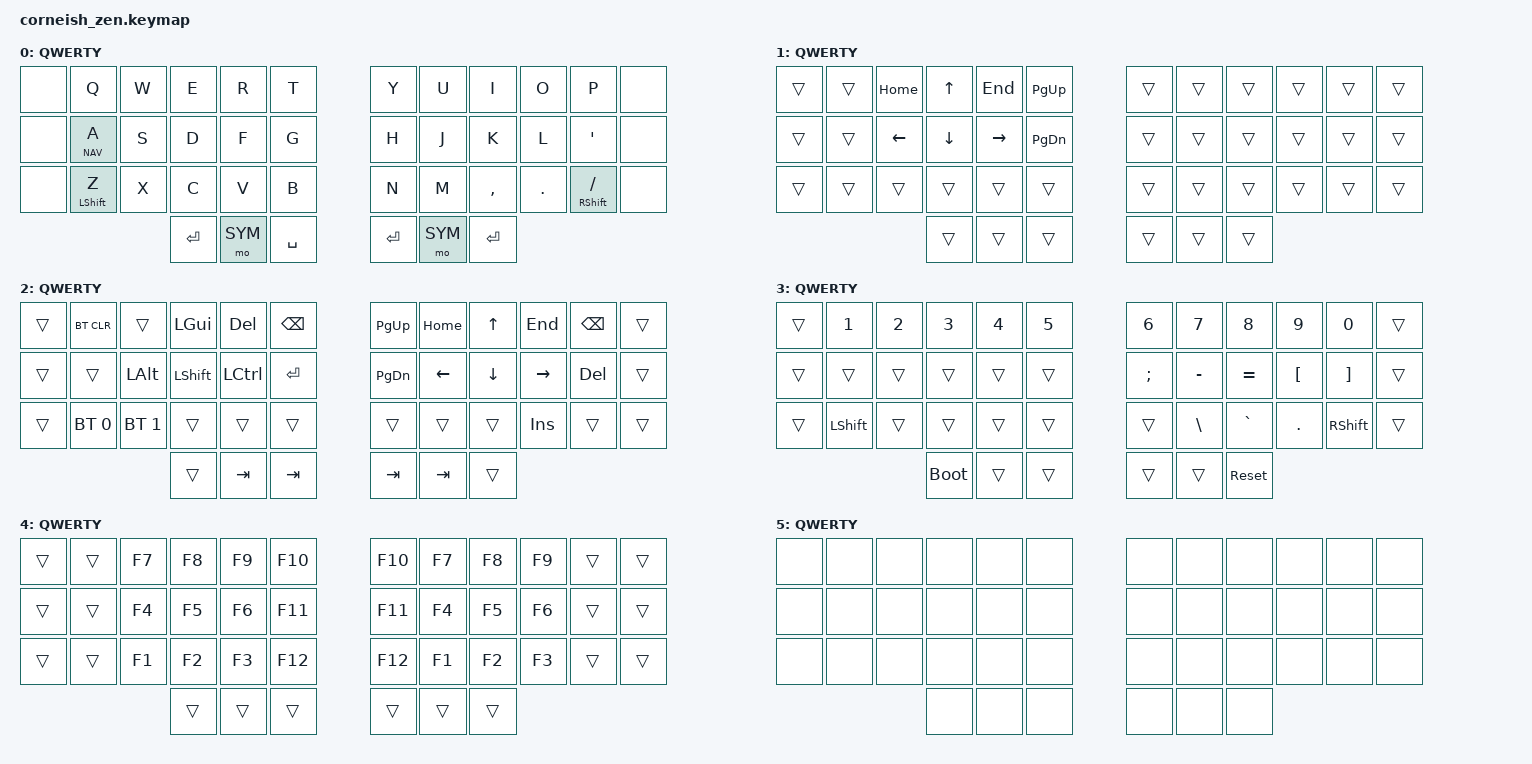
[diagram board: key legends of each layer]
/*
*
* Copyright (c) 2021 Darryl deHaan
* SPDX-License-Identifier: MIT
*
*/

#include <behaviors.dtsi>
#include <dt-bindings/zmk/keys.h>
#include <dt-bindings/zmk/bt.h>

#define COMBO_TIMEOUT <30>

#define BASE    0
#define LNAV    1
#define NAV     2
#define SYM     3
#define FUNC    4
#define DISABLE 5

#define _______ &trans
#define XXXXXXX &none

&mt {
    tapping-term-ms = <150>;
    flavor = "hold-preferred";
};

&sk {
    release-after-ms = <1000>;
};

&sl {
    release-after-ms = <1000>;
};

/ {
    chosen {
        zmk,matrix_transform = &default_transform;
        // zmk,matrix_transform = &five_column_transform;
    };
};

/ {

    behaviors {
        // Sticky key on tap, keypress on hold
        st: sticky_tap {
            compatible = "zmk,behavior-hold-tap";
            label = "STICKY_TAP";
            #binding-cells = <2>;
            tapping-term-ms = <250>;
            flavor = "tap-preferred";
            bindings = <&kp>, <&sk>;
        };

        combos {
            compatible = "zmk,combos";

            combo_disable { timeout-ms = COMBO_TIMEOUT; key-positions = <1 10>; bindings = <&tog DISABLE>; };

            // Escape, Tab, Enter, Backspace, Del
            combo_esc   { timeout-ms = COMBO_TIMEOUT; key-positions = <2 3>;   bindings = <&kp ESC>; };
            combo_tab   { timeout-ms = COMBO_TIMEOUT; key-positions = <14 15>; bindings = <&kp TAB>; };
            combo_bspc  { timeout-ms = COMBO_TIMEOUT; key-positions = <8 9>;   bindings = <&kp BKSP>; };
            combo_del   { timeout-ms = COMBO_TIMEOUT; key-positions = <9 10>;  bindings = <&kp DEL>; };
            combo_enter { timeout-ms = COMBO_TIMEOUT; key-positions = <20 21>; bindings = <&kp ENTER>; };

            // Sticky tap CTRL, ALT, GUI
            combo_lgui  { timeout-ms = COMBO_TIMEOUT; layers = <BASE>; key-positions = <2 4>;           bindings = <&st LGUI LGUI>; };
            combo_lctrl { timeout-ms = COMBO_TIMEOUT; layers = <BASE>; key-positions = <14 16>;         bindings = <&st LCTRL LCTRL>; };
            combo_lalt  { timeout-ms = COMBO_TIMEOUT; layers = <BASE>; key-positions = <26 28>;         bindings = <&st LALT LALT>; };

            combo_ralt  { timeout-ms = COMBO_TIMEOUT; layers = <BASE>; key-positions = <7 9>;           bindings = <&st RALT RALT>; };
            combo_rctrl { timeout-ms = COMBO_TIMEOUT; layers = <BASE>; key-positions = <19 21>;         bindings = <&st RCTRL RCTRL>; };
            combo_rgui  { timeout-ms = COMBO_TIMEOUT; layers = <BASE>; key-positions = <31 33>;         bindings = <&st RGUI RGUI>; };

            // Cut, Copy, Paste
            combo_cut   { timeout-ms = COMBO_TIMEOUT; layers = <BASE>; key-positions = <26 27 28>;      bindings = <&kp LC(X)>; };
            combo_copy  { timeout-ms = COMBO_TIMEOUT; layers = <BASE>; key-positions = <26 27>;         bindings = <&kp LC(C)>; };
            combo_paste { timeout-ms = COMBO_TIMEOUT; layers = <BASE>; key-positions = <27 28>;         bindings = <&kp LC(V)>; };

            // Left hand nav toggle, function layer
            combo_lnav  { timeout-ms = COMBO_TIMEOUT; layers = <BASE LNAV>; key-positions = <14 3 16>;  bindings = <&tog LNAV>; };
            combo_func  { timeout-ms = COMBO_TIMEOUT; layers = <BASE>; key-positions = <15 16>;         bindings = <&sl FUNC>; };
        };
    };

    keymap {
        compatible = "zmk,keymap";

        default_layer {
            label = "QWERTY";
            bindings = <
            XXXXXXX         &kp Q           &kp W           &kp E           &kp R           &kp T           &kp Y           &kp U           &kp I           &kp O           &kp P           XXXXXXX
            XXXXXXX         &lt NAV A       &kp S           &kp D           &kp F           &kp G           &kp H           &kp J           &kp K           &kp L           &kp APOS        XXXXXXX
            XXXXXXX         &mt LSHFT Z     &kp X           &kp C           &kp V           &kp B           &kp N           &kp M           &kp COMMA       &kp DOT         &mt RSHFT FSLH  XXXXXXX
                                                            &kp ENTER       &mo SYM         &kp SPC         &kp ENTER       &mo SYM         &kp ENTER
            >;
        };

        lnav_layer {
            label = "QWERTY";
            bindings = <
                _______         _______         &kp HOME        &kp UP          &kp END         &kp PG_UP       _______         _______         _______         _______         _______         _______
                _______         _______         &kp LEFT        &kp DOWN        &kp RIGHT       &kp PG_DN       _______         _______         _______         _______         _______         _______
                _______         _______         _______         _______         _______         _______         _______         _______         _______         _______         _______         _______
                _______         _______         _______         _______         _______         _______
            >;
        };

        nav_layer {
            label = "QWERTY";
            bindings = <
                _______         &bt BT_CLR      _______         &kp LGUI        &kp DEL         &kp BSPC        &kp PG_UP       &kp HOME        &kp UP          &kp END         &kp BKSP        _______
                _______         _______         &kp LALT        &kp LSHFT       &kp LCTRL       &kp ENTER       &kp PG_DN       &kp LEFT        &kp DOWN        &kp RIGHT       &kp DEL         _______
                _______         &bt BT_SEL 0    &bt BT_SEL 1    _______         _______         _______         _______         _______         _______         &kp INS         _______         _______
                _______         &kp TAB         &kp TAB         &kp TAB         &kp TAB         _______
            >;
        };

        sym_layer {
            label = "QWERTY";
            bindings = <
                _______         &kp N1          &kp N2          &kp N3          &kp N4          &kp N5          &kp N6          &kp N7          &kp N8          &kp N9          &kp N0          _______
                _______         _______         _______         _______         _______         _______         &kp SEMI        &kp MINUS       &kp EQUAL       &kp LBKT        &kp RBKT        _______
                _______         &kp LSHFT       _______         _______         _______         _______         _______         &kp BSLH        &kp GRAVE       &kp DOT         &kp RSHFT       _______
                &bootloader     _______         _______         _______         _______         &sys_reset
            >;
        };

        func_layer {
            label = "QWERTY";
            bindings = <
                _______         _______         &kp F7          &kp F8          &kp F9          &kp F10         &kp F10         &kp F7          &kp F8          &kp F9          _______         _______
                _______         _______         &kp F4          &kp F5          &kp F6          &kp F11         &kp F11         &kp F4          &kp F5          &kp F6          _______         _______
                _______         _______         &kp F1          &kp F2          &kp F3          &kp F12         &kp F12         &kp F1          &kp F2          &kp F3          _______         _______
                _______         _______         _______         _______         _______         _______
            >;
        };

        disable_layer {
            label = "QWERTY";
            bindings = <
                XXXXXXX         XXXXXXX         XXXXXXX         XXXXXXX         XXXXXXX         XXXXXXX         XXXXXXX         XXXXXXX         XXXXXXX         XXXXXXX         XXXXXXX         XXXXXXX
                XXXXXXX         XXXXXXX         XXXXXXX         XXXXXXX         XXXXXXX         XXXXXXX         XXXXXXX         XXXXXXX         XXXXXXX         XXXXXXX         XXXXXXX         XXXXXXX
                XXXXXXX         XXXXXXX         XXXXXXX         XXXXXXX         XXXXXXX         XXXXXXX         XXXXXXX         XXXXXXX         XXXXXXX         XXXXXXX         XXXXXXX         XXXXXXX
                XXXXXXX         XXXXXXX         XXXXXXX         XXXXXXX         XXXXXXX         XXXXXXX
            >;
        };
    };

};
